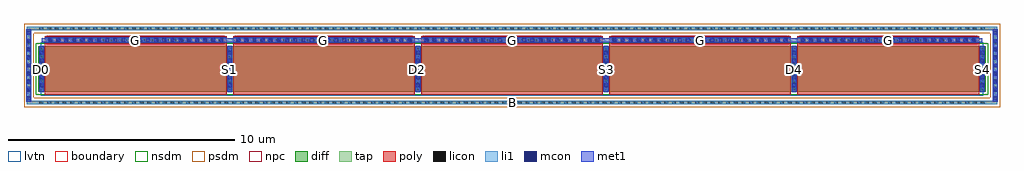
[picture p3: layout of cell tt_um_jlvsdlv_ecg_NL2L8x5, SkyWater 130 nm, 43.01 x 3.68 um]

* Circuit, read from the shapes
.subckt tt_um_jlvsdlv_ecg_NL2L8x5 B D0 D2 D4 G S1 S3 S4
XM1 S1 G D0 B sky130_fd_pr__nfet_01v8_lvt w=2 l=8
XM2 D2 G S1 B sky130_fd_pr__nfet_01v8_lvt w=2 l=8
XM3 S3 G D2 B sky130_fd_pr__nfet_01v8_lvt w=2 l=8
XM4 D4 G S3 B sky130_fd_pr__nfet_01v8_lvt w=2 l=8
XM5 S4 G D4 B sky130_fd_pr__nfet_01v8_lvt w=2 l=8
.ends

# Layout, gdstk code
import gdstk
lib = gdstk.Library(unit=1e-6, precision=1e-09)
def R(c, l, rs):  # rectangles x0, y0, x1, y1
    for r in rs: c.add(gdstk.rectangle(r[:2], r[2:], *l))
def A(c, l, x, y, w, h, nx, ny, dx, dy):  # array of equal rectangles
    R(c, l, [(x+i*dx, y+j*dy, x+i*dx+w, y+j*dy+h) for i in range(nx) for j in range(ny)])
diff = (65, 20)
tap = (65, 44)
poly = (66, 20)
licon = (66, 44)
li1 = (67, 20)
mcon = (67, 44)
met1 = (68, 20)
nsdm = (93, 44)
psdm = (94, 20)
npc = (95, 20)
lvtn = (125, 44)
boundary = (235, 4)

tt_um_jlvsdlv_ecg_nl2l8x = lib.new_cell('tt_um_jlvsdlv_ecg_NL2L8x5')
R(tt_um_jlvsdlv_ecg_nl2l8x, diff, [(-20.87,-1.155,20.87,0.845)])
R(tt_um_jlvsdlv_ecg_nl2l8x, tap, [(-21.38,-1.715,21.38,-1.545), (-21.38,-1.545,-21.21,1.545), (21.21,-1.545,21.38,1.545), (-21.38,1.545,21.38,1.715)])
A(tt_um_jlvsdlv_ecg_nl2l8x, poly, -20.58, -1.285, 8, 2.57, 5, 1, 8.29, 0)
A(tt_um_jlvsdlv_ecg_nl2l8x, licon, -20.825, -1.715, 0.17, 0.17, 123, 2, 0.34, 3.26)
A(tt_um_jlvsdlv_ecg_nl2l8x, licon, -21.38, -1.105, 0.17, 0.17, 1, 7, 0, 0.34)
A(tt_um_jlvsdlv_ecg_nl2l8x, licon, 21.21, -1.105, 0.17, 0.17, 1, 7, 0, 0.34)
A(tt_um_jlvsdlv_ecg_nl2l8x, licon, -20.81, -1.09, 0.17, 0.17, 6, 6, 8.29, 0.34)
A(tt_um_jlvsdlv_ecg_nl2l8x, licon, -20.405, 1.035, 0.17, 0.17, 23, 1, 0.34, 0)
A(tt_um_jlvsdlv_ecg_nl2l8x, licon, -12.115, 1.035, 0.17, 0.17, 23, 1, 0.34, 0)
A(tt_um_jlvsdlv_ecg_nl2l8x, licon, -3.825, 1.035, 0.17, 0.17, 23, 1, 0.34, 0)
A(tt_um_jlvsdlv_ecg_nl2l8x, licon, 4.465, 1.035, 0.17, 0.17, 23, 1, 0.34, 0)
A(tt_um_jlvsdlv_ecg_nl2l8x, licon, 12.755, 1.035, 0.17, 0.17, 23, 1, 0.34, 0)
A(tt_um_jlvsdlv_ecg_nl2l8x, li1, -20.81, -1.175, 0.17, 2.04, 6, 1, 8.29, 0)
R(tt_um_jlvsdlv_ecg_nl2l8x, li1, [(-21.38,-1.715,21.38,-1.545), (-21.38,-1.545,-21.21,1.545), (21.21,-1.545,21.38,1.545), (-20.725,1.035,20.725,1.205), (-21.38,1.545,21.38,1.715)])
A(tt_um_jlvsdlv_ecg_nl2l8x, mcon, -21.38, -1.525, 0.17, 0.17, 1, 9, 0, 0.36)
A(tt_um_jlvsdlv_ecg_nl2l8x, mcon, 21.21, -1.525, 0.17, 0.17, 1, 9, 0, 0.36)
A(tt_um_jlvsdlv_ecg_nl2l8x, mcon, -20.81, -0.96, 0.17, 0.17, 6, 5, 8.29, 0.36)
A(tt_um_jlvsdlv_ecg_nl2l8x, mcon, -20.445, 1.035, 0.17, 0.17, 22, 1, 0.36, 0)
A(tt_um_jlvsdlv_ecg_nl2l8x, mcon, -12.155, 1.035, 0.17, 0.17, 22, 1, 0.36, 0)
A(tt_um_jlvsdlv_ecg_nl2l8x, mcon, -3.865, 1.035, 0.17, 0.17, 22, 1, 0.36, 0)
A(tt_um_jlvsdlv_ecg_nl2l8x, mcon, 4.425, 1.035, 0.17, 0.17, 22, 1, 0.36, 0)
A(tt_um_jlvsdlv_ecg_nl2l8x, mcon, 12.715, 1.035, 0.17, 0.17, 22, 1, 0.36, 0)
A(tt_um_jlvsdlv_ecg_nl2l8x, met1, -20.84, -1.155, 0.23, 2, 6, 1, 8.29, 0)
A(tt_um_jlvsdlv_ecg_nl2l8x, met1, -20.56, 1.005, 7.96, 0.03, 5, 2, 8.29, 0.2)
R(tt_um_jlvsdlv_ecg_nl2l8x, met1, [(-21.41,-1.605,-21.18,1.605), (21.18,-1.605,21.41,1.605), (-20.725,1.035,20.725,1.205)])
R(tt_um_jlvsdlv_ecg_nl2l8x, nsdm, [(-20.995,-1.28,20.995,0.97)])
R(tt_um_jlvsdlv_ecg_nl2l8x, psdm, [(-21.505,-1.84,21.505,-1.42), (-21.505,-1.42,-21.085,1.42), (21.085,-1.42,21.505,1.42), (-21.505,1.42,21.505,1.84)])
A(tt_um_jlvsdlv_ecg_nl2l8x, npc, -20.505, 0.935, 7.85, 0.37, 5, 1, 8.29, 0)
R(tt_um_jlvsdlv_ecg_nl2l8x, lvtn, [(-20.76,-1.335,20.76,1.025)])
R(tt_um_jlvsdlv_ecg_nl2l8x, boundary, [(-21.295,-1.63,21.295,1.63)])
tt_um_jlvsdlv_ecg_nl2l8x.add(gdstk.Label('B', (0,-1.63), layer=67, texttype=5))
tt_um_jlvsdlv_ecg_nl2l8x.add(gdstk.Label('D0', (-20.725,-0.155), layer=67, texttype=5))
tt_um_jlvsdlv_ecg_nl2l8x.add(gdstk.Label('G', (16.58,1.12), layer=67, texttype=5))
tt_um_jlvsdlv_ecg_nl2l8x.add(gdstk.Label('G', (8.29,1.12), layer=67, texttype=5))
tt_um_jlvsdlv_ecg_nl2l8x.add(gdstk.Label('G', (0,1.12), layer=67, texttype=5))
tt_um_jlvsdlv_ecg_nl2l8x.add(gdstk.Label('G', (-8.29,1.12), layer=67, texttype=5))
tt_um_jlvsdlv_ecg_nl2l8x.add(gdstk.Label('G', (-16.58,1.12), layer=67, texttype=5))
tt_um_jlvsdlv_ecg_nl2l8x.add(gdstk.Label('S1', (-12.435,-0.155), layer=67, texttype=5))
tt_um_jlvsdlv_ecg_nl2l8x.add(gdstk.Label('D2', (-4.145,-0.155), layer=67, texttype=5))
tt_um_jlvsdlv_ecg_nl2l8x.add(gdstk.Label('S3', (4.145,-0.155), layer=67, texttype=5))
tt_um_jlvsdlv_ecg_nl2l8x.add(gdstk.Label('D4', (12.435,-0.155), layer=67, texttype=5))
tt_um_jlvsdlv_ecg_nl2l8x.add(gdstk.Label('S4', (20.725,-0.155), layer=67, texttype=5))

lib.write_gds('tt_um_jlvsdlv_ecg_NL2L8x5.gds')
